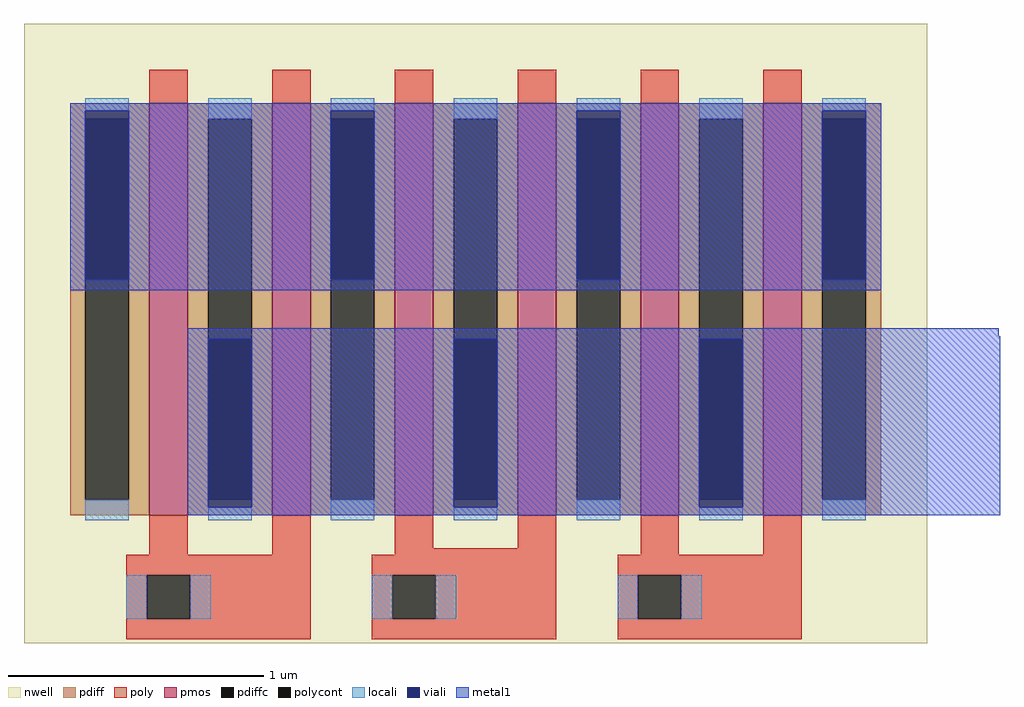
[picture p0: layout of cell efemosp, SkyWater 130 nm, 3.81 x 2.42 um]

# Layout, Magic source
magic
tech sky130B
magscale 1 2
<< nwell >>
rect -353 -261 353 223
<< pmos >>
rect -255 -161 -225 161
rect -159 -161 -129 161
rect -63 -161 -33 161
rect 33 -161 63 161
rect 129 -161 159 161
rect 225 -161 255 161
<< pdiff >>
rect -317 149 -255 161
rect -317 -149 -305 149
rect -271 -149 -255 149
rect -317 -161 -255 -149
rect -225 149 -159 161
rect -225 -149 -209 149
rect -175 -149 -159 149
rect -225 -161 -159 -149
rect -129 149 -63 161
rect -129 -149 -113 149
rect -79 -149 -63 149
rect -129 -161 -63 -149
rect -33 149 33 161
rect -33 -149 -17 149
rect 17 -149 33 149
rect -33 -161 33 -149
rect 63 149 129 161
rect 63 -149 79 149
rect 113 -149 129 149
rect 63 -161 129 -149
rect 159 149 225 161
rect 159 -149 175 149
rect 209 -149 225 149
rect 159 -161 225 -149
rect 255 149 317 161
rect 255 -149 271 149
rect 305 -149 317 149
rect 255 -161 317 -149
<< pdiffc >>
rect -305 -149 -271 149
rect -209 -149 -175 149
rect -113 -149 -79 149
rect -17 -149 17 149
rect 79 -149 113 149
rect 175 -149 209 149
rect 271 -149 305 149
<< poly >>
rect -255 161 -225 187
rect -159 161 -129 187
rect -63 161 -33 187
rect 33 161 63 187
rect 129 161 159 187
rect 225 161 255 187
rect -255 -192 -225 -161
rect -159 -192 -129 -161
rect -63 -187 -33 -161
rect 33 -187 63 -161
rect -63 -192 63 -187
rect 129 -192 159 -161
rect 225 -192 255 -161
rect -273 -208 -129 -192
rect -273 -242 -257 -208
rect -223 -242 -129 -208
rect -273 -258 -129 -242
rect -81 -208 63 -192
rect -81 -242 -65 -208
rect -31 -242 63 -208
rect -81 -258 63 -242
rect 111 -208 255 -192
rect 111 -242 127 -208
rect 161 -242 255 -208
rect 111 -258 255 -242
<< polycont >>
rect -257 -242 -223 -208
rect -65 -242 -31 -208
rect 127 -242 161 -208
<< locali >>
rect -305 155 -271 165
rect -305 -165 -271 -149
rect -209 149 -175 165
rect -209 -165 -175 -155
rect -113 155 -79 165
rect -113 -165 -79 -149
rect -17 149 17 165
rect -17 -165 17 -155
rect 79 155 113 165
rect 79 -165 113 -149
rect 175 149 209 165
rect 175 -165 209 -155
rect 271 155 305 165
rect 271 -165 305 -149
rect -273 -242 -257 -208
rect -223 -242 -207 -208
rect -81 -242 -65 -208
rect -31 -242 -15 -208
rect 111 -242 127 -208
rect 161 -242 177 -208
<< viali >>
rect -305 149 -271 155
rect -305 23 -271 149
rect -209 -149 -175 -23
rect -209 -155 -175 -149
rect -113 149 -79 155
rect -113 23 -79 149
rect -17 -149 17 -23
rect -17 -155 17 -149
rect 79 149 113 155
rect 79 23 113 149
rect 175 -149 209 -23
rect 175 -155 209 -149
rect 271 149 305 155
rect 271 23 305 149
<< metal1 >>
rect -317 155 317 161
rect -317 23 -305 155
rect -271 23 -113 155
rect -79 23 79 155
rect 113 23 271 155
rect 305 23 317 155
rect -317 15 317 23
rect -225 -21 409 -15
rect -225 -23 410 -21
rect -225 -155 -209 -23
rect -175 -155 -17 -23
rect 17 -155 175 -23
rect 209 -155 410 -23
rect -225 -161 410 -155
<< properties >>
string gencell sky130_fd_pr__pfet_01v8
string library sky130
string parameters w 1.605 l 0.15 m 1 nf 6 diffcov 100 polycov 100 guard 0 glc 1 grc 1 gtc 1 gbc 1 tbcov 100 rlcov 100 topc 1 botc 1 poverlap 0 doverlap 1 lmin 0.15 wmin 0.42 compatible {sky130_fd_pr__pfet_01v8  sky130_fd_pr__pfet_01v8_lvt sky130_fd_pr__pfet_01v8_hvt  sky130_fd_pr__pfet_g5v0d10v5} full_metal 1 viasrc 100 viadrn 100 viagate 100 viagb 0 viagr 0 viagl 0 viagt 0
<< end >>
